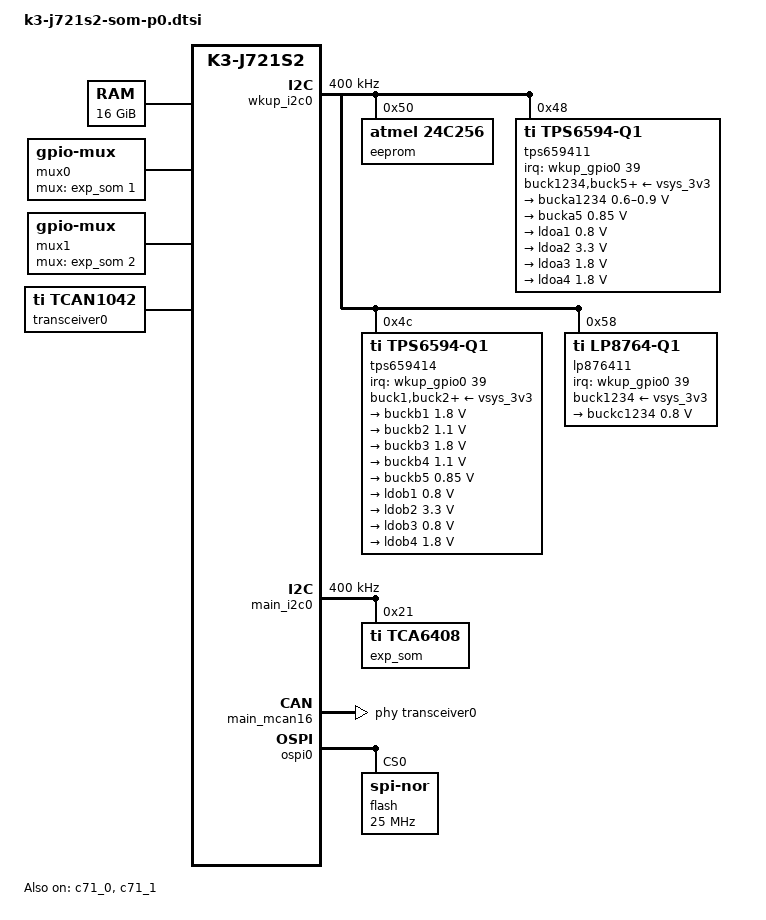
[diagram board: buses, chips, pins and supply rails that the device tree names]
// SPDX-License-Identifier: GPL-2.0
/*
 * SoM: https://www.ti.com/lit/zip/sprr439
 *
 * Copyright (C) 2021 Texas Instruments Incorporated - https://www.ti.com/
 */

/dts-v1/;

#include "k3-j721s2.dtsi"
#include <dt-bindings/gpio/gpio.h>

/ {
	memory@80000000 {
		device_type = "memory";
		/* 16 GB RAM */
		reg = <0x00 0x80000000 0x00 0x80000000>,
		      <0x08 0x80000000 0x03 0x80000000>;
	};

	/* Reserving memory regions still pending */
	reserved_memory: reserved-memory {
		#address-cells = <2>;
		#size-cells = <2>;
		ranges;

		secure_ddr: optee@9e800000 {
			reg = <0x00 0x9e800000 0x00 0x01800000>;
			alignment = <0x1000>;
			no-map;
		};

		mcu_r5fss0_core0_dma_memory_region: r5f-dma-memory@a0000000 {
			compatible = "shared-dma-pool";
			reg = <0x00 0xa0000000 0x00 0x100000>;
			no-map;
		};

		mcu_r5fss0_core0_memory_region: r5f-memory@a0100000 {
			compatible = "shared-dma-pool";
			reg = <0x00 0xa0100000 0x00 0xf00000>;
			no-map;
		};

		mcu_r5fss0_core1_dma_memory_region: r5f-dma-memory@a1000000 {
			compatible = "shared-dma-pool";
			reg = <0x00 0xa1000000 0x00 0x100000>;
			no-map;
		};

		mcu_r5fss0_core1_memory_region: r5f-memory@a1100000 {
			compatible = "shared-dma-pool";
			reg = <0x00 0xa1100000 0x00 0xf00000>;
			no-map;
		};

		main_r5fss0_core0_dma_memory_region: r5f-dma-memory@a2000000 {
			compatible = "shared-dma-pool";
			reg = <0x00 0xa2000000 0x00 0x100000>;
			no-map;
		};

		main_r5fss0_core0_memory_region: r5f-memory@a2100000 {
			compatible = "shared-dma-pool";
			reg = <0x00 0xa2100000 0x00 0xf00000>;
			no-map;
		};

		main_r5fss0_core1_dma_memory_region: r5f-dma-memory@a3000000 {
			compatible = "shared-dma-pool";
			reg = <0x00 0xa3000000 0x00 0x100000>;
			no-map;
		};

		main_r5fss0_core1_memory_region: r5f-memory@a3100000 {
			compatible = "shared-dma-pool";
			reg = <0x00 0xa3100000 0x00 0xf00000>;
			no-map;
		};

		main_r5fss1_core0_dma_memory_region: r5f-dma-memory@a4000000 {
			compatible = "shared-dma-pool";
			reg = <0x00 0xa4000000 0x00 0x100000>;
			no-map;
		};

		main_r5fss1_core0_memory_region: r5f-memory@a4100000 {
			compatible = "shared-dma-pool";
			reg = <0x00 0xa4100000 0x00 0xf00000>;
			no-map;
		};

		main_r5fss1_core1_dma_memory_region: r5f-dma-memory@a5000000 {
			compatible = "shared-dma-pool";
			reg = <0x00 0xa5000000 0x00 0x100000>;
			no-map;
		};

		main_r5fss1_core1_memory_region: r5f-memory@a5100000 {
			compatible = "shared-dma-pool";
			reg = <0x00 0xa5100000 0x00 0xf00000>;
			no-map;
		};

		c71_0_dma_memory_region: c71-dma-memory@a6000000 {
			compatible = "shared-dma-pool";
			reg = <0x00 0xa6000000 0x00 0x100000>;
			no-map;
		};

		c71_0_memory_region: c71-memory@a6100000 {
			compatible = "shared-dma-pool";
			reg = <0x00 0xa6100000 0x00 0xf00000>;
			no-map;
		};

		c71_1_dma_memory_region: c71-dma-memory@a7000000 {
			compatible = "shared-dma-pool";
			reg = <0x00 0xa7000000 0x00 0x100000>;
			no-map;
		};

		c71_1_memory_region: c71-memory@a7100000 {
			compatible = "shared-dma-pool";
			reg = <0x00 0xa7100000 0x00 0xf00000>;
			no-map;
		};

		rtos_ipc_memory_region: ipc-memories@a8000000 {
			reg = <0x00 0xa8000000 0x00 0x01c00000>;
			alignment = <0x1000>;
			no-map;
		};
	};

	mux0: mux-controller {
		compatible = "gpio-mux";
		#mux-state-cells = <1>;
		mux-gpios = <&exp_som 1 GPIO_ACTIVE_HIGH>;
	};

	mux1: mux-controller {
		compatible = "gpio-mux";
		#mux-state-cells = <1>;
		mux-gpios = <&exp_som 2 GPIO_ACTIVE_HIGH>;
	};

	transceiver0: can-phy0 {
		/* standby pin has been grounded by default */
		compatible = "ti,tcan1042";
		#phy-cells = <0>;
		max-bitrate = <5000000>;
	};
};

&wkup_pmx0 {
	mcu_fss0_ospi0_pins_default: mcu-fss0-ospi0-default-pins {
		pinctrl-single,pins = <
			J721S2_WKUP_IOPAD(0x000, PIN_OUTPUT, 0) /* (D19) MCU_OSPI0_CLK */
			J721S2_WKUP_IOPAD(0x02c, PIN_OUTPUT, 0) /* (F15) MCU_OSPI0_CSn0 */
			J721S2_WKUP_IOPAD(0x00c, PIN_INPUT, 0) /* (C19) MCU_OSPI0_D0 */
			J721S2_WKUP_IOPAD(0x010, PIN_INPUT, 0) /* (F16) MCU_OSPI0_D1 */
			J721S2_WKUP_IOPAD(0x014, PIN_INPUT, 0) /* (G15) MCU_OSPI0_D2 */
			J721S2_WKUP_IOPAD(0x018, PIN_INPUT, 0) /* (F18) MCU_OSPI0_D3 */
			J721S2_WKUP_IOPAD(0x01c, PIN_INPUT, 0) /* (E19) MCU_OSPI0_D4 */
			J721S2_WKUP_IOPAD(0x020, PIN_INPUT, 0) /* (G19) MCU_OSPI0_D5 */
			J721S2_WKUP_IOPAD(0x024, PIN_INPUT, 0) /* (F19) MCU_OSPI0_D6 */
			J721S2_WKUP_IOPAD(0x028, PIN_INPUT, 0) /* (F20) MCU_OSPI0_D7 */
			J721S2_WKUP_IOPAD(0x008, PIN_INPUT, 0) /* (E18) MCU_OSPI0_DQS */
			J721S2_WKUP_IOPAD(0x004, PIN_INPUT, 0) /* (E20) MCU_OSPI0_LBCLKO */
		>;
	};
};

&wkup_pmx1 {
	pmic_irq_pins_default: pmic-irq-default-pins {
		pinctrl-single,pins = <
			/* (C21) MCU_OSPI1_CSn1.WKUP_GPIO0_39 */
			J721S2_WKUP_IOPAD(0x028, PIN_INPUT, 7)
		>;
	};
};

&wkup_pmx2 {
	wkup_i2c0_pins_default: wkup-i2c0-default-pins {
		pinctrl-single,pins = <
			J721S2_WKUP_IOPAD(0x98, PIN_INPUT, 0) /* (H24) WKUP_I2C0_SCL */
			J721S2_WKUP_IOPAD(0x9c, PIN_INPUT, 0) /* (H27) WKUP_I2C0_SDA */
		>;
	};
};

&main_pmx0 {
	main_i2c0_pins_default: main-i2c0-default-pins {
		pinctrl-single,pins = <
			J721S2_IOPAD(0x0e0, PIN_INPUT_PULLUP, 0) /* (AH25) I2C0_SCL */
			J721S2_IOPAD(0x0e4, PIN_INPUT_PULLUP, 0) /* (AE24) I2C0_SDA */
		>;
	};

	main_mcan16_pins_default: main-mcan16-default-pins {
		pinctrl-single,pins = <
			J721S2_IOPAD(0x028, PIN_INPUT, 0) /* (AB24) MCAN16_RX */
			J721S2_IOPAD(0x024, PIN_OUTPUT, 0) /* (Y28) MCAN16_TX */
		>;
	};
};

&wkup_i2c0 {
	status = "okay";
	pinctrl-names = "default";
	pinctrl-0 = <&wkup_i2c0_pins_default>;
	clock-frequency = <400000>;

	eeprom@50 {
		/* CAV24C256WE-GT3 */
		compatible = "atmel,24c256";
		reg = <0x50>;
	};

	tps659411: pmic@48 {
		compatible = "ti,tps6594-q1";
		reg = <0x48>;
		system-power-controller;
		pinctrl-names = "default";
		pinctrl-0 = <&pmic_irq_pins_default>;
		interrupt-parent = <&wkup_gpio0>;
		interrupts = <39 IRQ_TYPE_EDGE_FALLING>;
		gpio-controller;
		#gpio-cells = <2>;
		ti,primary-pmic;
		buck1234-supply = <&vsys_3v3>;
		buck5-supply = <&vsys_3v3>;
		ldo1-supply = <&vsys_3v3>;
		ldo2-supply = <&vsys_3v3>;
		ldo3-supply = <&vsys_3v3>;
		ldo4-supply = <&vsys_3v3>;

		regulators {
			bucka1234: buck1234 {
				regulator-name = "vdd_cpu_avs";
				regulator-min-microvolt = <600000>;
				regulator-max-microvolt = <900000>;
				regulator-boot-on;
				regulator-always-on;
				bootph-pre-ram;
			};

			bucka5: buck5 {
				regulator-name = "vdd_mcu_0v85";
				regulator-min-microvolt = <850000>;
				regulator-max-microvolt = <850000>;
				regulator-boot-on;
				regulator-always-on;
			};

			ldoa1: ldo1 {
				regulator-name = "vdd_mcuwk_0v8";
				regulator-min-microvolt = <800000>;
				regulator-max-microvolt = <800000>;
				regulator-boot-on;
				regulator-always-on;
			};

			ldoa2: ldo2 {
				regulator-name = "vdd_mcu_gpioret_3v3";
				regulator-min-microvolt = <3300000>;
				regulator-max-microvolt = <3300000>;
				regulator-boot-on;
				regulator-always-on;
			};

			ldoa3: ldo3 {
				regulator-name = "vdd_mcuio_1v8";
				regulator-min-microvolt = <1800000>;
				regulator-max-microvolt = <1800000>;
				regulator-boot-on;
				regulator-always-on;
			};

			ldoa4: ldo4 {
				regulator-name = "vda_mcu_1v8";
				regulator-min-microvolt = <1800000>;
				regulator-max-microvolt = <1800000>;
				regulator-boot-on;
				regulator-always-on;
			};
		};
	};

	tps659414: pmic@4c {
		compatible = "ti,tps6594-q1";
		reg = <0x4c>;
		system-power-controller;
		interrupt-parent = <&wkup_gpio0>;
		interrupts = <39 IRQ_TYPE_EDGE_FALLING>;
		gpio-controller;
		#gpio-cells = <2>;
		buck1-supply = <&vsys_3v3>;
		buck2-supply = <&vsys_3v3>;
		buck3-supply = <&vsys_3v3>;
		buck4-supply = <&vsys_3v3>;
		buck5-supply = <&vsys_3v3>;
		ldo1-supply = <&vsys_3v3>;
		ldo2-supply = <&vsys_3v3>;
		ldo3-supply = <&vsys_3v3>;
		ldo4-supply = <&vsys_3v3>;

		regulators {
			buckb1: buck1 {
				regulator-name = "vdd_io_1v8_reg";
				regulator-min-microvolt = <1800000>;
				regulator-max-microvolt = <1800000>;
				regulator-always-on;
				regulator-boot-on;
			};

			buckb2: buck2 {
				regulator-name = "vdd_fpd_1v1";
				regulator-min-microvolt = <1100000>;
				regulator-max-microvolt = <1100000>;
				regulator-boot-on;
				regulator-always-on;
			};

			buckb3: buck3 {
				regulator-name = "vdd_phy_1v8";
				regulator-min-microvolt = <1800000>;
				regulator-max-microvolt = <1800000>;
				regulator-boot-on;
				regulator-always-on;
			};

			buckb4: buck4 {
				regulator-name = "vdd_ddr_1v1";
				regulator-min-microvolt = <1100000>;
				regulator-max-microvolt = <1100000>;
				regulator-boot-on;
				regulator-always-on;
			};

			buckb5: buck5 {
				regulator-name = "vdd_ram_0v85";
				regulator-min-microvolt = <850000>;
				regulator-max-microvolt = <850000>;
				regulator-boot-on;
				regulator-always-on;
			};

			ldob1: ldo1 {
				regulator-name = "vdd_wk_0v8";
				regulator-min-microvolt = <800000>;
				regulator-max-microvolt = <800000>;
				regulator-boot-on;
				regulator-always-on;
			};

			ldob2: ldo2 {
				regulator-name = "vdd_gpioret_3v3";
				regulator-min-microvolt = <3300000>;
				regulator-max-microvolt = <3300000>;
				regulator-boot-on;
				regulator-always-on;
			};

			ldob3: ldo3 {
				regulator-name = "vda_dll_0v8";
				regulator-min-microvolt = <800000>;
				regulator-max-microvolt = <800000>;
				regulator-boot-on;
				regulator-always-on;
			};

			ldob4: ldo4 {
				regulator-name = "vda_pll_1v8";
				regulator-min-microvolt = <1800000>;
				regulator-max-microvolt = <1800000>;
				regulator-boot-on;
				regulator-always-on;
			};
		};
	};

	lp876411: pmic@58 {
		compatible = "ti,lp8764-q1";
		reg = <0x58>;
		system-power-controller;
		interrupt-parent = <&wkup_gpio0>;
		interrupts = <39 IRQ_TYPE_EDGE_FALLING>;
		gpio-controller;
		#gpio-cells = <2>;
		buck1234-supply = <&vsys_3v3>;

		regulators {
			buckc1234: buck1234 {
				regulator-name = "vdd_core_0v8";
				regulator-min-microvolt = <800000>;
				regulator-max-microvolt = <800000>;
				regulator-boot-on;
				regulator-always-on;
			};
		};
	};
};

&main_i2c0 {
	status = "okay";
	pinctrl-names = "default";
	pinctrl-0 = <&main_i2c0_pins_default>;
	clock-frequency = <400000>;

	exp_som: gpio@21 {
		compatible = "ti,tca6408";
		reg = <0x21>;
		gpio-controller;
		#gpio-cells = <2>;
		gpio-line-names = "USB2.0_MUX_SEL", "CANUART_MUX1_SEL0",
				  "CANUART_MUX2_SEL0", "CANUART_MUX_SEL1",
				  "GPIO_RGMII1_RST", "GPIO_eDP_ENABLE",
				   "GPIO_LIN_EN", "CAN_STB";
	};
};

&main_mcan16 {
	status = "okay";
	pinctrl-0 = <&main_mcan16_pins_default>;
	pinctrl-names = "default";
	phys = <&transceiver0>;
};

&ospi0 {
	status = "okay";
	pinctrl-names = "default";
	pinctrl-0 = <&mcu_fss0_ospi0_pins_default>;

	flash@0 {
		compatible = "jedec,spi-nor";
		reg = <0x0>;
		spi-tx-bus-width = <8>;
		spi-rx-bus-width = <8>;
		spi-max-frequency = <25000000>;
		cdns,tshsl-ns = <60>;
		cdns,tsd2d-ns = <60>;
		cdns,tchsh-ns = <60>;
		cdns,tslch-ns = <60>;
		cdns,read-delay = <4>;
	};
};

&mailbox0_cluster0 {
	status = "okay";
	interrupts = <436>;
	mbox_mcu_r5fss0_core0: mbox-mcu-r5fss0-core0 {
		ti,mbox-rx = <0 0 0>;
		ti,mbox-tx = <1 0 0>;
	};

	mbox_mcu_r5fss0_core1: mbox-mcu-r5fss0-core1 {
		ti,mbox-rx = <2 0 0>;
		ti,mbox-tx = <3 0 0>;
	};
};

&mailbox0_cluster1 {
	status = "okay";
	interrupts = <432>;
	mbox_main_r5fss0_core0: mbox-main-r5fss0-core0 {
		ti,mbox-rx = <0 0 0>;
		ti,mbox-tx = <1 0 0>;
	};

	mbox_main_r5fss0_core1: mbox-main-r5fss0-core1 {
		ti,mbox-rx = <2 0 0>;
		ti,mbox-tx = <3 0 0>;
	};
};

&mailbox0_cluster2 {
	status = "okay";
	interrupts = <428>;
	mbox_main_r5fss1_core0: mbox-main-r5fss1-core0 {
		ti,mbox-rx = <0 0 0>;
		ti,mbox-tx = <1 0 0>;
	};

	mbox_main_r5fss1_core1: mbox-main-r5fss1-core1 {
		ti,mbox-rx = <2 0 0>;
		ti,mbox-tx = <3 0 0>;
	};
};

&mailbox0_cluster4 {
	status = "okay";
	interrupts = <420>;
	mbox_c71_0: mbox-c71-0 {
		ti,mbox-rx = <0 0 0>;
		ti,mbox-tx = <1 0 0>;
	};

	mbox_c71_1: mbox-c71-1 {
		ti,mbox-rx = <2 0 0>;
		ti,mbox-tx = <3 0 0>;
	};
};

&mcu_r5fss0_core0 {
	mboxes = <&mailbox0_cluster0 &mbox_mcu_r5fss0_core0>;
	memory-region = <&mcu_r5fss0_core0_dma_memory_region>,
			<&mcu_r5fss0_core0_memory_region>;
};

&mcu_r5fss0_core1 {
	mboxes = <&mailbox0_cluster0 &mbox_mcu_r5fss0_core1>;
	memory-region = <&mcu_r5fss0_core1_dma_memory_region>,
			<&mcu_r5fss0_core1_memory_region>;
};

&main_r5fss0_core0 {
	mboxes = <&mailbox0_cluster1 &mbox_main_r5fss0_core0>;
	memory-region = <&main_r5fss0_core0_dma_memory_region>,
			<&main_r5fss0_core0_memory_region>;
};

&main_r5fss0_core1 {
	mboxes = <&mailbox0_cluster1 &mbox_main_r5fss0_core1>;
	memory-region = <&main_r5fss0_core1_dma_memory_region>,
			<&main_r5fss0_core1_memory_region>;
};

&main_r5fss1_core0 {
	mboxes = <&mailbox0_cluster2 &mbox_main_r5fss1_core0>;
	memory-region = <&main_r5fss1_core0_dma_memory_region>,
			<&main_r5fss1_core0_memory_region>;
};

&main_r5fss1_core1 {
	mboxes = <&mailbox0_cluster2 &mbox_main_r5fss1_core1>;
	memory-region = <&main_r5fss1_core1_dma_memory_region>,
			<&main_r5fss1_core1_memory_region>;
};

&c71_0 {
	status = "okay";
	mboxes = <&mailbox0_cluster4 &mbox_c71_0>;
	memory-region = <&c71_0_dma_memory_region>,
			<&c71_0_memory_region>;
};

&c71_1 {
	status = "okay";
	mboxes = <&mailbox0_cluster4 &mbox_c71_1>;
	memory-region = <&c71_1_dma_memory_region>,
			<&c71_1_memory_region>;
};
